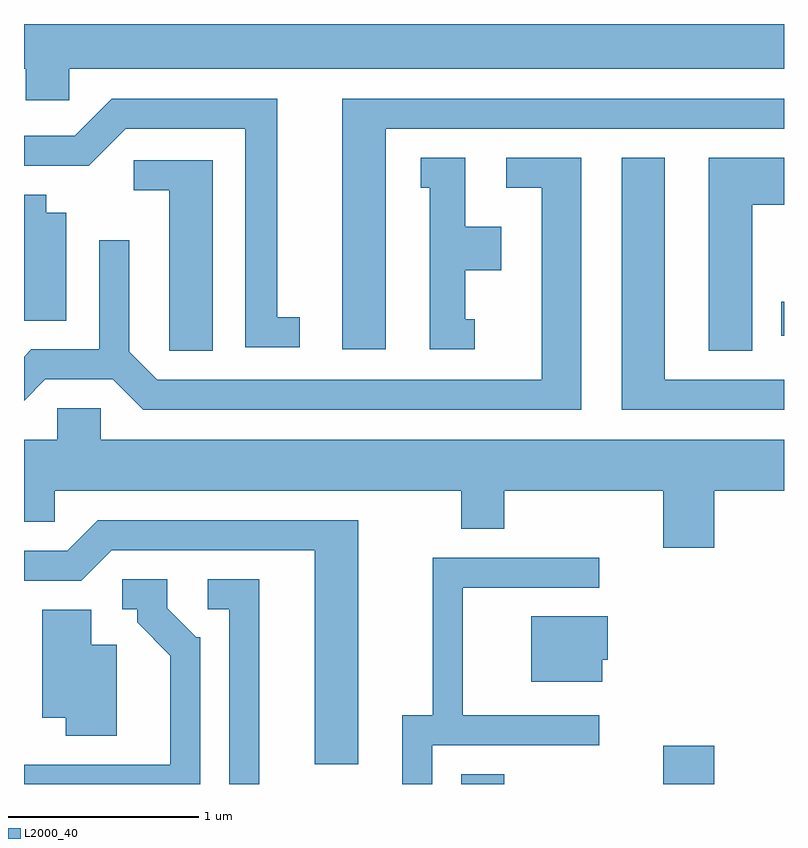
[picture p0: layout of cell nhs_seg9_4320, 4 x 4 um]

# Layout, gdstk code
import gdstk
lib = gdstk.Library(unit=1e-6, precision=1e-09)
def R(c, l, rs):  # rectangles x0, y0, x1, y1
    for r in rs: c.add(gdstk.rectangle(r[:2], r[2:], *l))
def P(c, l, *ps):  # polygons
    for p in ps: c.add(gdstk.Polygon(p, *l))
L2000_40 = (2000, 40)

nhs_seg9_4320 = lib.new_cell('nhs_seg9_4320')
R(nhs_seg9_4320, L2000_40, [(313.911,2052.432,314.139,2052.484), (314.976,2052.432,315.244,2052.634), (315.596,2054.791,315.611,2054.969)])
P(nhs_seg9_4320, L2000_40, [(315.611,2056.432),(311.611,2056.432),(311.611,2056.196),(311.621,2056.196),(311.621,2056.031),(311.849,2056.031),(311.849,2056.196),(315.611,2056.196)],
  [(313.514,2055.881),(315.611,2055.881),(315.611,2056.039),(313.286,2056.039),(313.286,2054.721),(313.514,2054.721)],
  [(313.063,2054.889),(312.944,2054.889),(312.944,2056.039),(312.074,2056.039),(311.879,2055.844),(311.611,2055.844),(311.611,2055.686),(311.952,2055.686),(312.147,2055.881),(312.776,2055.881),(312.776,2054.731),(313.063,2054.731)],
  [(315.611,2054.559),(314.984,2054.559),(314.984,2055.729),(314.756,2055.729),(314.756,2054.401),(315.611,2054.401)],
  [(314.544,2055.729),(314.148,2055.729),(314.148,2055.571),(314.336,2055.571),(314.336,2054.559),(312.312,2054.559),(312.164,2054.707),(312.164,2055.293),(312.006,2055.293),(312.006,2054.719),(311.649,2054.719),(311.611,2054.681),(311.611,2054.45),(311.722,2054.561),(312.079,2054.561),(312.239,2054.401),(314.544,2054.401)],
  [(313.983,2054.879),(313.934,2054.879),(313.934,2055.136),(314.124,2055.136),(314.124,2055.364),(313.934,2055.364),(313.934,2055.729),(313.698,2055.729),(313.698,2055.571),(313.746,2055.571),(313.746,2054.721),(313.983,2054.721)],
  [(315.444,2055.481),(315.611,2055.481),(315.611,2055.729),(315.216,2055.729),(315.216,2054.711),(315.444,2054.711)],
  [(312.604,2055.714),(312.188,2055.714),(312.188,2055.556),(312.376,2055.556),(312.376,2054.711),(312.604,2054.711)],
  [(311.834,2055.439),(311.729,2055.439),(311.729,2055.534),(311.611,2055.534),(311.611,2054.871),(311.834,2054.871)],
  [(315.244,2053.976),(315.611,2053.976),(315.611,2054.244),(312.014,2054.244),(312.014,2054.409),(311.786,2054.409),(311.786,2054.244),(311.611,2054.244),(311.611,2053.811),(311.774,2053.811),(311.774,2053.976),(313.911,2053.976),(313.911,2053.776),(314.139,2053.776),(314.139,2053.976),(314.976,2053.976),(314.976,2053.676),(315.244,2053.676)],
  [(313.369,2053.819),(311.999,2053.819),(311.839,2053.659),(311.611,2053.659),(311.611,2053.501),(311.912,2053.501),(312.072,2053.661),(313.141,2053.661),(313.141,2052.536),(313.369,2052.536)],
  [(313.759,2052.636),(314.638,2052.636),(314.638,2052.794),(313.919,2052.794),(313.919,2053.466),(314.638,2053.466),(314.638,2053.624),(313.761,2053.624),(313.761,2052.794),(313.601,2052.794),(313.601,2052.432),(313.759,2052.432)],
  [(312.539,2053.204),(312.517,2053.204),(312.364,2053.356),(312.364,2053.509),(312.128,2053.509),(312.128,2053.351),(312.206,2053.351),(312.206,2053.284),(312.381,2053.108),(312.381,2052.534),(311.611,2052.534),(311.611,2052.432),(312.539,2052.432)],
  [(312.849,2053.509),(312.578,2053.509),(312.578,2053.351),(312.691,2053.351),(312.691,2052.432),(312.849,2052.432)],
  [(312.099,2053.164),(311.964,2053.164),(311.964,2053.349),(311.706,2053.349),(311.706,2052.781),(311.831,2052.781),(311.831,2052.686),(312.099,2052.686)],
  [(314.654,2053.086),(314.684,2053.086),(314.684,2053.314),(314.281,2053.314),(314.281,2052.971),(314.654,2052.971)])

lib.write_gds('nhs_seg9_4320.gds')
